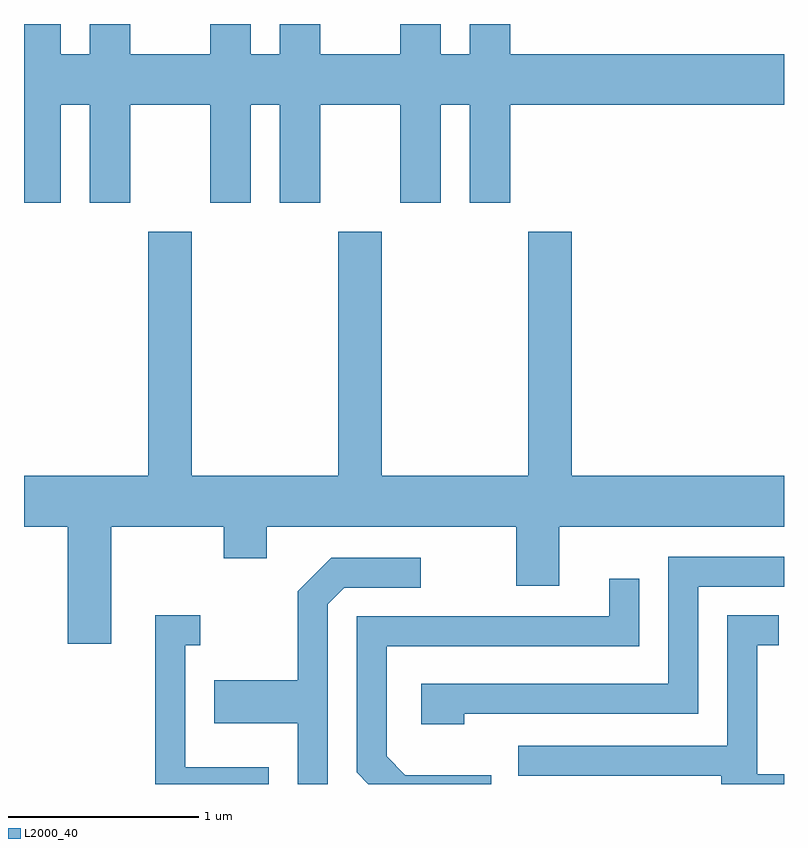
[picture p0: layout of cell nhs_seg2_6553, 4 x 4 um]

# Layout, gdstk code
import gdstk
lib = gdstk.Library(unit=1e-6, precision=1e-09)
def P(c, l, *ps):  # polygons
    for p in ps: c.add(gdstk.Polygon(p, *l))
L2000_40 = (2000, 40)

nhs_seg2_6553 = lib.new_cell('nhs_seg2_6553')
P(nhs_seg2_6553, L2000_40, [(377.804,1099.376),(377.956,1099.376),(377.956,1098.861),(378.169,1098.861),(378.169,1099.376),(378.591,1099.376),(378.591,1098.861),(378.804,1098.861),(378.804,1099.376),(378.956,1099.376),(378.956,1098.861),(379.169,1098.861),(379.169,1099.376),(379.591,1099.376),(379.591,1098.861),(379.804,1098.861),(379.804,1099.376),(379.956,1099.376),(379.956,1098.861),(380.169,1098.861),(380.169,1099.376),(381.611,1099.376),(381.611,1099.644),(380.169,1099.644),(380.169,1099.802),(379.956,1099.802),(379.956,1099.644),(379.804,1099.644),(379.804,1099.802),(379.591,1099.802),(379.591,1099.644),(379.169,1099.644),(379.169,1099.802),(378.956,1099.802),(378.956,1099.644),(378.804,1099.644),(378.804,1099.802),(378.591,1099.802),(378.591,1099.644),(378.169,1099.644),(378.169,1099.802),(377.956,1099.802),(377.956,1099.644),(377.804,1099.644),(377.804,1099.802),(377.611,1099.802),(377.611,1098.861),(377.804,1098.861)],
  [(378.069,1097.156),(378.661,1097.156),(378.661,1096.991),(378.889,1096.991),(378.889,1097.156),(380.201,1097.156),(380.201,1096.846),(380.429,1096.846),(380.429,1097.156),(381.611,1097.156),(381.611,1097.424),(380.494,1097.424),(380.494,1098.709),(380.266,1098.709),(380.266,1097.424),(379.494,1097.424),(379.494,1098.709),(379.266,1098.709),(379.266,1097.424),(378.494,1097.424),(378.494,1098.709),(378.266,1098.709),(378.266,1097.424),(377.611,1097.424),(377.611,1097.156),(377.841,1097.156),(377.841,1096.541),(378.069,1096.541)],
  [(379.929,1096.171),(381.159,1096.171),(381.159,1096.841),(381.611,1096.841),(381.611,1096.999),(381.001,1096.999),(381.001,1096.329),(379.701,1096.329),(379.701,1096.116),(379.929,1096.116)],
  [(379.209,1096.749),(379.297,1096.836),(379.698,1096.836),(379.698,1096.994),(379.229,1096.994),(379.051,1096.817),(379.051,1096.349),(378.611,1096.349),(378.611,1096.121),(379.051,1096.121),(379.051,1095.802),(379.209,1095.802)],
  [(380.069,1095.849),(379.617,1095.849),(379.519,1095.947),(379.519,1096.526),(380.849,1096.526),(380.849,1096.883),(380.691,1096.883),(380.691,1096.684),(379.361,1096.684),(379.361,1095.864),(379.423,1095.802),(380.069,1095.802)],
  [(381.611,1095.854),(381.469,1095.854),(381.469,1096.531),(381.583,1096.531),(381.583,1096.689),(381.311,1096.689),(381.311,1096.004),(380.213,1096.004),(380.213,1095.846),(381.281,1095.846),(381.281,1095.802),(381.611,1095.802)],
  [(378.899,1095.889),(378.459,1095.889),(378.459,1096.531),(378.538,1096.531),(378.538,1096.689),(378.301,1096.689),(378.301,1095.802),(378.899,1095.802)])

lib.write_gds('nhs_seg2_6553.gds')
